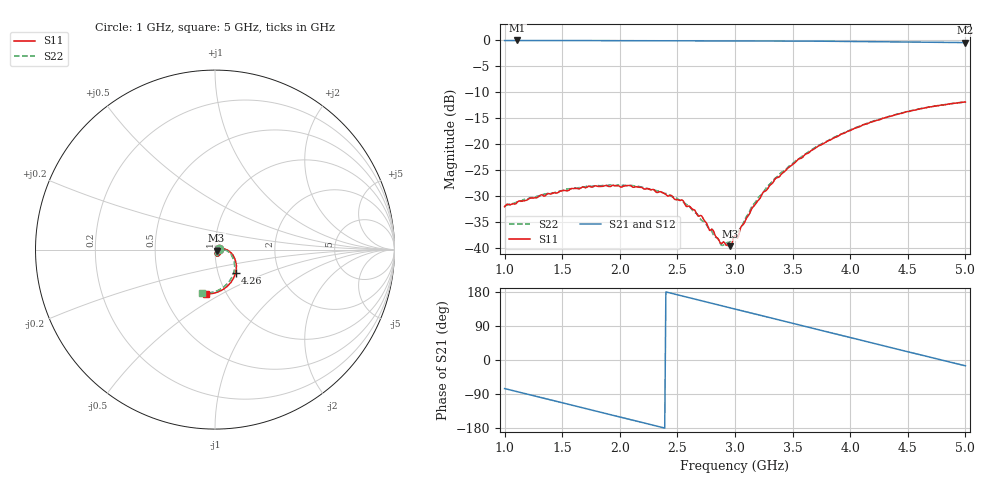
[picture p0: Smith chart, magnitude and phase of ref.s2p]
!Agilent Technologies,N5224A,MY51441093,A.09.90.21
!Agilent N5224A: A.09.90.21
!Date: Wednesday, October 01, 2025 16:41:18
!Correction: S11(Full 2 Port(1,2))
!S21(Full 2 Port(1,2))
!S12(Full 2 Port(1,2))
!S22(Full 2 Port(1,2))
!S2P File: Measurements: S11, S21, S12, S22:
# Hz S  dB  R 50
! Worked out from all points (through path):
!   401 points, 1 GHz to 5 GHz, reference 50 ohm
!   highest |S21| = -0.06 dB at 1.11 GHz (marker M1); lowest = -0.5 dB at 5 GHz (marker M2)
!   group delay of S21, straight-line fit = 209 ps
!   lowest |S11| = -39.7 dB at 2.96 GHz (marker M3), VSWR 1.02, Z = 50.9 - j0.531 ohm
!   |S11| at or under -10 dB: start of sweep to end of sweep
!   |S22| runs from -39.6 to -11.9 dB; largest |S21 - S12| = 0.006
!   S11 on the Smith chart (normalised r, x): 1 GHz: 1.05, +0.00; 4.26 GHz: 1.21, -0.32; 5 GHz: 0.80, -0.43
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1e9  -32.10 1.7  -0.08 -75.4  -0.06 -75.4  -31.93 8.3
1.11e9  -31.23 -4.6  -0.06 -83.6  -0.06 -83.7  -31.15 3.2
1.38e9  -29.56 -21.8  -0.07 -103.8  -0.07 -103.9  -29.51 -12.0
1.67e9  -28.36 -38.0  -0.09 -125.6  -0.08 -125.6  -28.30 -30.3
2.02e9  -28.29 -58.6  -0.11 -151.9  -0.09 -151.9  -27.96 -51.9
2.34e9  -29.23 -74.8  -0.12 -175.9  -0.11 -175.8  -29.09 -71.9
2.5e9  -30.73 -82.0  -0.13 172.1  -0.11 172.2  -30.54 -80.7
2.63e9  -32.56 -85.0  -0.13 162.4  -0.11 162.4  -32.78 -83.6
2.72e9  -34.22 -84.2  -0.13 155.6  -0.11 155.7  -34.86 -82.4
2.88e9  -39.21 -58.1  -0.14 143.6  -0.11 143.6  -39.48 -58.6
2.96e9  -39.69 -30.2  -0.14 137.6  -0.12 137.6  -38.75 -27.4
3e9  -37.66 -18.7  -0.14 134.6  -0.12 134.6  -37.78 -14.5
3.16e9  -32.04 6.3  -0.15 122.5  -0.13 122.5  -31.63 5.3
3.28e9  -28.75 8.1  -0.16 113.4  -0.14 113.4  -28.19 4.1
3.48e9  -24.33 0.1  -0.17 98.4  -0.16 98.3  -24.11 -4.4
3.67e9  -21.16 -10.2  -0.20 84.0  -0.18 84.0  -21.04 -15.1
3.95e9  -17.93 -27.5  -0.24 62.9  -0.22 62.8  -17.81 -33.3
4.26e9  -15.29 -48.2  -0.31 39.7  -0.28 39.4  -15.19 -55.2
4.34e9  -14.73 -54.0  -0.34 33.7  -0.30 33.5  -14.66 -61.0
4.51e9  -13.75 -66.2  -0.37 21.0  -0.35 20.8  -13.69 -72.7
4.67e9  -12.95 -77.2  -0.41 9.1  -0.39 8.9  -12.95 -84.1
5e9  -11.92 -101.6  -0.47 -15.3  -0.46 -15.6  -11.91 -106.6
